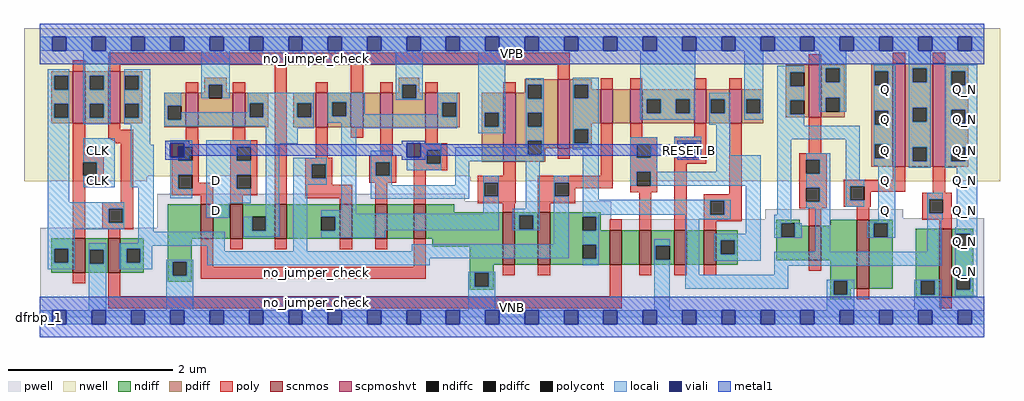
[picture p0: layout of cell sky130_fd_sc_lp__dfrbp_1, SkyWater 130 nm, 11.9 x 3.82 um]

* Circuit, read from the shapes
.subckt sky130_fd_sc_lp__dfrbp_1 CLK D RESET_B VGND VNB VPB VPWR Q Q_N
XM1 VGND CLK n1 VNB sky130_fd_pr__nfet_01v8 w=0.42 l=0.15
XM2 n2 n1 VGND VNB sky130_fd_pr__nfet_01v8 w=0.42 l=0.15
XM3 n3 RESET_B VGND VNB sky130_fd_pr__nfet_01v8 w=0.42 l=0.15
XM4 n4 D n3 VNB sky130_fd_pr__nfet_01v8 w=0.42 l=0.15
XM5 n5 n1 n4 VNB sky130_fd_pr__nfet_01v8 w=0.42 l=0.15
XM6 n6 n2 n5 VNB sky130_fd_pr__nfet_01v8 w=0.42 l=0.15
XM7 n7 n8 n6 VNB sky130_fd_pr__nfet_01v8 w=0.42 l=0.15
XM8 VGND RESET_B n7 VNB sky130_fd_pr__nfet_01v8 w=0.42 l=0.15
XM9 n8 n5 VGND VNB sky130_fd_pr__nfet_01v8 w=0.64 l=0.15
XM10 n9 n2 n8 VNB sky130_fd_pr__nfet_01v8 w=0.64 l=0.15
XM11 n10 n1 n9 VNB sky130_fd_pr__nfet_01v8 w=0.42 l=0.15
XM12 VGND n11 n10 VNB sky130_fd_pr__nfet_01v8 w=0.42 l=0.15
XM13 n12 RESET_B VGND VNB sky130_fd_pr__nfet_01v8 w=0.42 l=0.15
XM14 n11 n9 n12 VNB sky130_fd_pr__nfet_01v8 w=0.42 l=0.15
XM15 VGND n9 n13 VNB sky130_fd_pr__nfet_01v8 w=0.42 l=0.15
XM16 Q n13 VGND VNB sky130_fd_pr__nfet_01v8 w=0.84 l=0.15
XM17 Q_N n9 VGND VNB sky130_fd_pr__nfet_01v8 w=0.84 l=0.15
XM18 VPWR CLK n1 VPB sky130_fd_pr__pfet_01v8_hvt w=0.64 l=0.15
XM19 n2 n1 VPWR VPB sky130_fd_pr__pfet_01v8_hvt w=0.64 l=0.15
XM20 VPWR RESET_B n4 VPB sky130_fd_pr__pfet_01v8_hvt w=0.42 l=0.15
XM21 n4 D VPWR VPB sky130_fd_pr__pfet_01v8_hvt w=0.42 l=0.15
XM22 n5 n2 n4 VPB sky130_fd_pr__pfet_01v8_hvt w=0.42 l=0.15
XM23 n14 n1 n5 VPB sky130_fd_pr__pfet_01v8_hvt w=0.42 l=0.15
XM24 VPWR n8 n14 VPB sky130_fd_pr__pfet_01v8_hvt w=0.42 l=0.15
XM25 n5 RESET_B VPWR VPB sky130_fd_pr__pfet_01v8_hvt w=0.42 l=0.15
XM26 n8 n5 VPWR VPB sky130_fd_pr__pfet_01v8_hvt w=0.84 l=0.15
XM27 n9 n1 n8 VPB sky130_fd_pr__pfet_01v8_hvt w=0.84 l=0.15
XM28 n15 n2 n9 VPB sky130_fd_pr__pfet_01v8_hvt w=0.42 l=0.15
XM29 VPWR n11 n15 VPB sky130_fd_pr__pfet_01v8_hvt w=0.42 l=0.15
XM30 n11 RESET_B VPWR VPB sky130_fd_pr__pfet_01v8_hvt w=0.42 l=0.15
XM31 VPWR n9 n11 VPB sky130_fd_pr__pfet_01v8_hvt w=0.42 l=0.15
XM32 VPWR n9 n13 VPB sky130_fd_pr__pfet_01v8_hvt w=0.64 l=0.15
XM33 VPWR n13 Q VPB sky130_fd_pr__pfet_01v8_hvt w=1.26 l=0.15
XM34 Q_N n9 VPWR VPB sky130_fd_pr__pfet_01v8_hvt w=1.26 l=0.15
.ends

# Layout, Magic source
magic
tech sky130A
magscale 1 2
<< nwell >>
rect -38 343 2342 704
rect -38 331 263 343
rect 1050 331 2342 343
<< pwell >>
rect 287 282 1037 301
rect 287 238 1394 282
rect 1770 241 2106 263
rect 1770 238 2303 241
rect 287 218 2303 238
rect 2 49 2303 218
rect 0 0 2304 49
<< scnmos >>
rect 81 108 111 192
rect 167 108 197 192
rect 393 191 423 275
rect 465 191 495 275
rect 573 191 603 275
rect 732 191 762 275
rect 818 191 848 275
rect 912 191 942 275
rect 1129 128 1159 256
rect 1215 128 1245 256
rect 1390 128 1420 212
rect 1462 128 1492 212
rect 1548 128 1578 212
rect 1620 128 1650 212
rect 1876 139 1906 223
rect 1993 69 2023 237
rect 2194 47 2224 215
<< scpmoshvt >>
rect 81 472 111 600
rect 167 472 197 600
rect 357 463 387 547
rect 471 463 501 547
rect 673 463 703 547
rect 759 463 789 547
rect 831 463 861 547
rect 941 463 971 547
rect 1131 379 1161 547
rect 1263 412 1293 580
rect 1368 472 1398 556
rect 1440 472 1470 556
rect 1596 472 1626 556
rect 1682 472 1712 556
rect 1876 487 1906 615
rect 2081 367 2111 619
rect 2178 367 2208 619
<< ndiff >>
rect 28 167 81 192
rect 28 133 36 167
rect 70 133 81 167
rect 28 108 81 133
rect 111 164 167 192
rect 111 130 122 164
rect 156 130 167 164
rect 111 108 167 130
rect 197 167 254 192
rect 197 133 212 167
rect 246 133 254 167
rect 197 108 254 133
rect 313 191 393 275
rect 423 191 465 275
rect 495 244 573 275
rect 495 210 518 244
rect 552 210 573 244
rect 495 191 573 210
rect 603 244 732 275
rect 603 210 687 244
rect 721 210 732 244
rect 603 191 732 210
rect 762 191 818 275
rect 848 191 912 275
rect 942 256 1011 275
rect 942 191 1129 256
rect 313 135 371 191
rect 313 101 325 135
rect 359 101 371 135
rect 313 86 371 101
rect 957 172 1129 191
rect 1049 128 1129 172
rect 1159 248 1215 256
rect 1159 214 1170 248
rect 1204 214 1215 248
rect 1159 128 1215 214
rect 1245 244 1368 256
rect 1245 210 1324 244
rect 1358 212 1368 244
rect 1796 229 1854 237
rect 1358 210 1390 212
rect 1245 176 1390 210
rect 1245 142 1324 176
rect 1358 142 1390 176
rect 1245 128 1390 142
rect 1420 128 1462 212
rect 1492 174 1548 212
rect 1492 140 1503 174
rect 1537 140 1548 174
rect 1492 128 1548 140
rect 1578 128 1620 212
rect 1650 187 1703 212
rect 1650 153 1661 187
rect 1695 153 1703 187
rect 1650 128 1703 153
rect 1796 195 1808 229
rect 1842 223 1854 229
rect 1928 223 1993 237
rect 1842 195 1876 223
rect 1796 139 1876 195
rect 1906 139 1993 223
rect 1049 108 1107 128
rect 1049 74 1061 108
rect 1095 74 1107 108
rect 1049 66 1107 74
rect 1928 89 1993 139
rect 1928 55 1936 89
rect 1970 69 1993 89
rect 2023 229 2080 237
rect 2023 195 2034 229
rect 2068 195 2080 229
rect 2023 69 2080 195
rect 2137 89 2194 215
rect 1970 55 1978 69
rect 1928 43 1978 55
rect 2137 55 2149 89
rect 2183 55 2194 89
rect 2137 47 2194 55
rect 2224 203 2277 215
rect 2224 169 2235 203
rect 2269 169 2277 203
rect 2224 101 2277 169
rect 2224 67 2235 101
rect 2269 67 2277 101
rect 2224 47 2277 67
<< pdiff >>
rect 28 588 81 600
rect 28 554 36 588
rect 70 554 81 588
rect 28 520 81 554
rect 28 486 36 520
rect 70 486 81 520
rect 28 472 81 486
rect 111 588 167 600
rect 111 554 122 588
rect 156 554 167 588
rect 111 520 167 554
rect 111 486 122 520
rect 156 486 167 520
rect 111 472 167 486
rect 197 588 250 600
rect 197 554 208 588
rect 242 554 250 588
rect 197 520 250 554
rect 402 567 456 583
rect 402 547 412 567
rect 197 486 208 520
rect 242 486 250 520
rect 197 472 250 486
rect 304 515 357 547
rect 304 481 312 515
rect 346 481 357 515
rect 304 463 357 481
rect 387 533 412 547
rect 446 547 456 567
rect 446 533 471 547
rect 387 463 471 533
rect 501 521 558 547
rect 501 487 512 521
rect 546 487 558 521
rect 501 463 558 487
rect 876 567 926 583
rect 1819 597 1876 615
rect 876 547 884 567
rect 618 521 673 547
rect 618 487 628 521
rect 662 487 673 521
rect 618 463 673 487
rect 703 524 759 547
rect 703 490 714 524
rect 748 490 759 524
rect 703 463 759 490
rect 789 463 831 547
rect 861 533 884 547
rect 918 547 926 567
rect 1183 566 1263 580
rect 1183 547 1191 566
rect 918 533 941 547
rect 861 463 941 533
rect 971 523 1024 547
rect 971 489 982 523
rect 1016 489 1024 523
rect 971 463 1024 489
rect 1078 498 1131 547
rect 1078 464 1086 498
rect 1120 464 1131 498
rect 1078 379 1131 464
rect 1161 532 1191 547
rect 1225 532 1263 566
rect 1161 498 1263 532
rect 1161 464 1191 498
rect 1225 464 1263 498
rect 1161 430 1263 464
rect 1161 396 1191 430
rect 1225 412 1263 430
rect 1293 567 1346 580
rect 1293 533 1304 567
rect 1338 556 1346 567
rect 1819 563 1831 597
rect 1865 563 1876 597
rect 1338 533 1368 556
rect 1293 472 1368 533
rect 1398 472 1440 556
rect 1470 531 1596 556
rect 1470 497 1481 531
rect 1515 497 1551 531
rect 1585 497 1596 531
rect 1470 472 1596 497
rect 1626 531 1682 556
rect 1626 497 1637 531
rect 1671 497 1682 531
rect 1626 472 1682 497
rect 1712 531 1765 556
rect 1712 497 1723 531
rect 1757 497 1765 531
rect 1712 472 1765 497
rect 1819 529 1876 563
rect 1819 495 1831 529
rect 1865 495 1876 529
rect 1819 487 1876 495
rect 1906 607 1963 615
rect 1906 573 1917 607
rect 1951 573 1963 607
rect 1906 535 1963 573
rect 1906 501 1917 535
rect 1951 501 1963 535
rect 1906 487 1963 501
rect 2028 599 2081 619
rect 2028 565 2036 599
rect 2070 565 2081 599
rect 2028 503 2081 565
rect 1293 458 1346 472
rect 1293 424 1304 458
rect 1338 424 1346 458
rect 1293 412 1346 424
rect 1225 396 1233 412
rect 1161 379 1233 396
rect 2028 469 2036 503
rect 2070 469 2081 503
rect 2028 421 2081 469
rect 2028 387 2036 421
rect 2070 387 2081 421
rect 2028 367 2081 387
rect 2111 607 2178 619
rect 2111 573 2129 607
rect 2163 573 2178 607
rect 2111 510 2178 573
rect 2111 476 2129 510
rect 2163 476 2178 510
rect 2111 414 2178 476
rect 2111 380 2129 414
rect 2163 380 2178 414
rect 2111 367 2178 380
rect 2208 599 2265 619
rect 2208 565 2223 599
rect 2257 565 2265 599
rect 2208 506 2265 565
rect 2208 472 2223 506
rect 2257 472 2265 506
rect 2208 414 2265 472
rect 2208 380 2223 414
rect 2257 380 2265 414
rect 2208 367 2265 380
<< ndiffc >>
rect 36 133 70 167
rect 122 130 156 164
rect 212 133 246 167
rect 518 210 552 244
rect 687 210 721 244
rect 325 101 359 135
rect 1170 214 1204 248
rect 1324 210 1358 244
rect 1324 142 1358 176
rect 1503 140 1537 174
rect 1661 153 1695 187
rect 1808 195 1842 229
rect 1061 74 1095 108
rect 1936 55 1970 89
rect 2034 195 2068 229
rect 2149 55 2183 89
rect 2235 169 2269 203
rect 2235 67 2269 101
<< pdiffc >>
rect 36 554 70 588
rect 36 486 70 520
rect 122 554 156 588
rect 122 486 156 520
rect 208 554 242 588
rect 208 486 242 520
rect 312 481 346 515
rect 412 533 446 567
rect 512 487 546 521
rect 628 487 662 521
rect 714 490 748 524
rect 884 533 918 567
rect 982 489 1016 523
rect 1086 464 1120 498
rect 1191 532 1225 566
rect 1191 464 1225 498
rect 1191 396 1225 430
rect 1304 533 1338 567
rect 1831 563 1865 597
rect 1481 497 1515 531
rect 1551 497 1585 531
rect 1637 497 1671 531
rect 1723 497 1757 531
rect 1831 495 1865 529
rect 1917 573 1951 607
rect 1917 501 1951 535
rect 2036 565 2070 599
rect 1304 424 1338 458
rect 2036 469 2070 503
rect 2036 387 2070 421
rect 2129 573 2163 607
rect 2129 476 2163 510
rect 2129 380 2163 414
rect 2223 565 2257 599
rect 2223 472 2257 506
rect 2223 380 2257 414
<< poly >>
rect 81 600 111 626
rect 167 615 1293 645
rect 1876 615 1906 641
rect 2081 619 2111 645
rect 2178 619 2208 645
rect 167 600 197 615
rect 357 547 387 573
rect 81 394 111 472
rect 167 457 197 472
rect 471 547 501 573
rect 167 436 228 457
rect 174 432 228 436
rect 178 430 228 432
rect 357 431 387 463
rect 471 431 501 463
rect 182 427 228 430
rect 186 424 228 427
rect 81 378 156 394
rect 81 344 106 378
rect 140 344 156 378
rect 81 328 156 344
rect 81 192 111 328
rect 198 280 228 424
rect 322 415 388 431
rect 322 381 338 415
rect 372 381 388 415
rect 322 347 388 381
rect 322 313 338 347
rect 372 327 388 347
rect 465 415 531 431
rect 465 381 481 415
rect 515 381 531 415
rect 465 347 531 381
rect 372 313 423 327
rect 322 297 423 313
rect 153 264 228 280
rect 393 275 423 297
rect 465 313 481 347
rect 515 313 531 347
rect 465 297 531 313
rect 465 275 495 297
rect 573 275 603 615
rect 673 547 703 573
rect 759 547 789 615
rect 831 547 861 573
rect 1263 580 1293 615
rect 941 547 971 573
rect 1131 547 1161 573
rect 673 389 703 463
rect 759 437 789 463
rect 831 394 861 463
rect 941 424 971 463
rect 912 408 994 424
rect 648 373 714 389
rect 648 339 664 373
rect 698 339 714 373
rect 648 323 714 339
rect 804 378 870 394
rect 804 344 820 378
rect 854 344 870 378
rect 804 328 870 344
rect 912 374 944 408
rect 978 374 994 408
rect 1368 556 1398 582
rect 1440 556 1470 582
rect 1596 556 1626 582
rect 1682 556 1712 582
rect 1263 386 1293 412
rect 912 358 994 374
rect 648 290 762 323
rect 732 275 762 290
rect 818 275 848 328
rect 912 275 942 358
rect 1131 344 1161 379
rect 1368 344 1398 472
rect 1068 328 1161 344
rect 1068 294 1084 328
rect 1118 294 1161 328
rect 1068 278 1161 294
rect 1215 328 1398 344
rect 1215 294 1256 328
rect 1290 314 1398 328
rect 1440 438 1470 472
rect 1596 440 1626 472
rect 1440 422 1506 438
rect 1440 388 1456 422
rect 1490 388 1506 422
rect 1440 354 1506 388
rect 1440 320 1456 354
rect 1490 320 1506 354
rect 1290 294 1306 314
rect 1440 304 1506 320
rect 1548 424 1626 440
rect 1548 390 1564 424
rect 1598 390 1626 424
rect 1548 374 1626 390
rect 1215 278 1306 294
rect 153 230 169 264
rect 203 230 228 264
rect 153 214 228 230
rect 167 192 197 214
rect 1129 256 1159 278
rect 1215 256 1245 278
rect 81 82 111 108
rect 167 51 197 108
rect 393 123 423 191
rect 465 165 495 191
rect 573 165 603 191
rect 732 165 762 191
rect 818 165 848 191
rect 912 123 942 191
rect 393 93 942 123
rect 1390 212 1420 238
rect 1462 212 1492 304
rect 1548 212 1578 374
rect 1682 300 1712 472
rect 1876 399 1906 487
rect 1620 284 1712 300
rect 1620 250 1636 284
rect 1670 250 1712 284
rect 1853 383 1919 399
rect 1853 349 1869 383
rect 1903 349 1919 383
rect 1853 315 1919 349
rect 2081 335 2111 367
rect 1853 281 1869 315
rect 1903 281 1919 315
rect 1853 265 1919 281
rect 1961 319 2111 335
rect 1961 285 1977 319
rect 2011 305 2111 319
rect 2011 285 2027 305
rect 2178 303 2208 367
rect 1961 269 2027 285
rect 2153 287 2224 303
rect 1620 234 1712 250
rect 1620 212 1650 234
rect 1876 223 1906 265
rect 1993 237 2023 269
rect 2153 253 2169 287
rect 2203 253 2224 287
rect 2153 237 2224 253
rect 1129 102 1159 128
rect 1215 102 1245 128
rect 1390 51 1420 128
rect 1462 102 1492 128
rect 1548 102 1578 128
rect 1620 102 1650 128
rect 1876 113 1906 139
rect 167 21 1420 51
rect 2194 215 2224 237
rect 1993 43 2023 69
rect 2194 21 2224 47
<< polycont >>
rect 106 344 140 378
rect 338 381 372 415
rect 338 313 372 347
rect 481 381 515 415
rect 481 313 515 347
rect 664 339 698 373
rect 820 344 854 378
rect 944 374 978 408
rect 1084 294 1118 328
rect 1256 294 1290 328
rect 1456 388 1490 422
rect 1456 320 1490 354
rect 1564 390 1598 424
rect 169 230 203 264
rect 1636 250 1670 284
rect 1869 349 1903 383
rect 1869 281 1903 315
rect 1977 285 2011 319
rect 2169 253 2203 287
<< locali >>
rect 0 649 31 683
rect 65 649 127 683
rect 161 649 223 683
rect 257 649 319 683
rect 353 649 415 683
rect 449 649 511 683
rect 545 649 607 683
rect 641 649 703 683
rect 737 649 799 683
rect 833 649 895 683
rect 929 649 991 683
rect 1025 649 1087 683
rect 1121 649 1183 683
rect 1217 649 1279 683
rect 1313 649 1375 683
rect 1409 649 1471 683
rect 1505 649 1567 683
rect 1601 649 1663 683
rect 1697 649 1759 683
rect 1793 649 1855 683
rect 1889 649 1951 683
rect 1985 649 2047 683
rect 2081 649 2143 683
rect 2177 649 2239 683
rect 2273 649 2304 683
rect 20 588 72 604
rect 20 554 36 588
rect 70 554 72 588
rect 20 520 72 554
rect 20 486 36 520
rect 70 486 72 520
rect 20 280 72 486
rect 106 588 172 649
rect 106 554 122 588
rect 156 554 172 588
rect 106 520 172 554
rect 106 486 122 520
rect 156 486 172 520
rect 106 470 172 486
rect 206 588 270 604
rect 206 554 208 588
rect 242 554 270 588
rect 206 520 270 554
rect 394 567 464 649
rect 206 486 208 520
rect 242 486 270 520
rect 206 470 270 486
rect 106 378 183 436
rect 140 344 183 378
rect 106 316 183 344
rect 222 420 270 470
rect 304 515 346 547
rect 394 533 412 567
rect 446 533 464 567
rect 868 567 934 649
rect 304 481 312 515
rect 508 521 669 547
rect 508 499 512 521
rect 346 487 512 499
rect 546 487 628 521
rect 662 487 669 521
rect 346 481 669 487
rect 304 465 669 481
rect 703 524 793 547
rect 868 533 884 567
rect 918 533 934 567
rect 868 530 934 533
rect 703 490 714 524
rect 748 494 793 524
rect 970 523 1019 547
rect 970 494 982 523
rect 748 490 982 494
rect 703 489 982 490
rect 1016 489 1019 523
rect 703 474 1019 489
rect 551 460 669 465
rect 736 460 1019 474
rect 1070 498 1136 649
rect 1070 464 1086 498
rect 1120 464 1136 498
rect 319 424 372 431
rect 222 316 279 420
rect 20 264 207 280
rect 20 230 169 264
rect 203 230 207 264
rect 20 214 207 230
rect 20 167 86 214
rect 241 208 279 316
rect 353 415 372 424
rect 319 381 338 390
rect 319 347 372 381
rect 319 313 338 347
rect 319 290 372 313
rect 406 415 515 431
rect 406 381 481 415
rect 406 347 515 381
rect 406 313 481 347
rect 406 278 515 313
rect 551 423 630 460
rect 406 242 463 278
rect 551 244 585 423
rect 497 210 518 244
rect 552 210 585 244
rect 241 180 451 208
rect 497 196 585 210
rect 619 373 700 389
rect 619 339 664 373
rect 698 339 700 373
rect 619 323 700 339
rect 20 133 36 167
rect 70 133 86 167
rect 20 117 86 133
rect 120 164 162 180
rect 120 130 122 164
rect 156 130 162 164
rect 120 17 162 130
rect 196 174 451 180
rect 196 167 275 174
rect 196 133 212 167
rect 246 133 275 167
rect 409 160 451 174
rect 619 160 653 323
rect 736 260 772 460
rect 1070 448 1136 464
rect 1186 566 1229 582
rect 1186 532 1191 566
rect 1225 532 1229 566
rect 1186 498 1229 532
rect 1186 464 1191 498
rect 1225 464 1229 498
rect 1186 430 1229 464
rect 808 378 859 406
rect 808 344 820 378
rect 854 344 859 378
rect 929 408 980 424
rect 1186 414 1191 430
rect 929 390 944 408
rect 895 374 944 390
rect 978 374 980 408
rect 895 358 980 374
rect 1014 396 1191 414
rect 1225 396 1229 430
rect 1300 567 1364 583
rect 1300 533 1304 567
rect 1338 533 1364 567
rect 1300 458 1364 533
rect 1465 531 1599 649
rect 1465 497 1481 531
rect 1515 497 1551 531
rect 1585 497 1599 531
rect 1465 481 1599 497
rect 1633 531 1684 547
rect 1633 497 1637 531
rect 1671 497 1684 531
rect 1633 469 1684 497
rect 1718 531 1765 649
rect 1718 497 1723 531
rect 1757 497 1765 531
rect 1718 481 1765 497
rect 1799 597 1865 613
rect 1799 563 1831 597
rect 1799 529 1865 563
rect 1799 495 1831 529
rect 1901 607 1967 649
rect 1901 573 1917 607
rect 1951 573 1967 607
rect 1901 535 1967 573
rect 1901 501 1917 535
rect 1951 501 1967 535
rect 2034 599 2086 615
rect 2034 565 2036 599
rect 2070 565 2086 599
rect 2034 503 2086 565
rect 1300 424 1304 458
rect 1338 424 1364 458
rect 1300 408 1364 424
rect 1014 380 1229 396
rect 808 322 859 344
rect 1014 322 1048 380
rect 808 288 1048 322
rect 1082 328 1120 344
rect 1082 294 1084 328
rect 1118 294 1120 328
rect 687 252 772 260
rect 1082 252 1120 294
rect 1186 264 1220 380
rect 687 244 1120 252
rect 721 212 1120 244
rect 1154 248 1220 264
rect 1154 214 1170 248
rect 1204 214 1220 248
rect 1154 212 1220 214
rect 1254 328 1290 344
rect 1254 294 1256 328
rect 721 210 843 212
rect 687 194 843 210
rect 1254 178 1290 294
rect 908 160 1290 178
rect 409 144 1290 160
rect 1324 286 1364 408
rect 1440 422 1506 438
rect 1440 388 1456 422
rect 1490 388 1506 422
rect 1548 424 1614 440
rect 1548 390 1564 424
rect 1601 390 1614 424
rect 1548 388 1614 390
rect 1650 394 1684 469
rect 1799 467 1865 495
rect 2034 469 2036 503
rect 2070 469 2086 503
rect 1799 433 2000 467
rect 1440 354 1506 388
rect 1650 354 1758 394
rect 1440 320 1456 354
rect 1490 320 1758 354
rect 1324 284 1686 286
rect 1324 250 1636 284
rect 1670 250 1686 284
rect 1324 244 1364 250
rect 1358 210 1364 244
rect 1324 176 1364 210
rect 1575 238 1686 250
rect 196 117 275 133
rect 309 135 375 140
rect 309 101 325 135
rect 359 101 375 135
rect 409 126 951 144
rect 1358 142 1364 176
rect 1324 126 1364 142
rect 1499 174 1537 190
rect 1499 140 1503 174
rect 309 17 375 101
rect 1045 108 1111 110
rect 1045 74 1061 108
rect 1095 74 1111 108
rect 1045 17 1111 74
rect 1499 17 1537 140
rect 1575 103 1609 238
rect 1722 203 1758 320
rect 1799 250 1833 433
rect 1869 383 1928 399
rect 1903 349 1928 383
rect 1869 315 1928 349
rect 1903 281 1928 315
rect 1869 265 1928 281
rect 1966 335 2000 433
rect 2034 421 2086 469
rect 2034 387 2036 421
rect 2070 387 2086 421
rect 2034 369 2086 387
rect 1966 319 2011 335
rect 1966 285 1977 319
rect 1966 269 2011 285
rect 1645 187 1758 203
rect 1792 229 1833 250
rect 1792 195 1808 229
rect 1842 195 1858 229
rect 1792 193 1858 195
rect 1645 153 1661 187
rect 1695 153 1758 187
rect 1892 159 1928 265
rect 2045 233 2086 369
rect 2120 607 2173 649
rect 2120 573 2129 607
rect 2163 573 2173 607
rect 2120 510 2173 573
rect 2120 476 2129 510
rect 2163 476 2173 510
rect 2120 414 2173 476
rect 2120 380 2129 414
rect 2163 380 2173 414
rect 2120 364 2173 380
rect 2207 599 2287 615
rect 2207 565 2223 599
rect 2257 565 2287 599
rect 2207 506 2287 565
rect 2207 472 2223 506
rect 2257 472 2287 506
rect 2207 414 2287 472
rect 2207 380 2223 414
rect 2257 380 2287 414
rect 2207 364 2287 380
rect 2018 229 2086 233
rect 2018 195 2034 229
rect 2068 195 2086 229
rect 2018 193 2086 195
rect 2165 287 2203 303
rect 2165 253 2169 287
rect 2165 237 2203 253
rect 2165 159 2199 237
rect 2237 219 2287 364
rect 1645 137 1758 153
rect 1792 125 2199 159
rect 2233 203 2287 219
rect 2233 169 2235 203
rect 2269 169 2287 203
rect 1792 103 1826 125
rect 1575 69 1826 103
rect 2233 101 2287 169
rect 1920 89 1986 91
rect 1920 55 1936 89
rect 1970 55 1986 89
rect 1920 17 1986 55
rect 2133 89 2199 91
rect 2133 55 2149 89
rect 2183 55 2199 89
rect 2133 17 2199 55
rect 2233 67 2235 101
rect 2269 67 2287 101
rect 2233 51 2287 67
rect 0 -17 31 17
rect 65 -17 127 17
rect 161 -17 223 17
rect 257 -17 319 17
rect 353 -17 415 17
rect 449 -17 511 17
rect 545 -17 607 17
rect 641 -17 703 17
rect 737 -17 799 17
rect 833 -17 895 17
rect 929 -17 991 17
rect 1025 -17 1087 17
rect 1121 -17 1183 17
rect 1217 -17 1279 17
rect 1313 -17 1375 17
rect 1409 -17 1471 17
rect 1505 -17 1567 17
rect 1601 -17 1663 17
rect 1697 -17 1759 17
rect 1793 -17 1855 17
rect 1889 -17 1951 17
rect 1985 -17 2047 17
rect 2081 -17 2143 17
rect 2177 -17 2239 17
rect 2273 -17 2304 17
<< viali >>
rect 31 649 65 683
rect 127 649 161 683
rect 223 649 257 683
rect 319 649 353 683
rect 415 649 449 683
rect 511 649 545 683
rect 607 649 641 683
rect 703 649 737 683
rect 799 649 833 683
rect 895 649 929 683
rect 991 649 1025 683
rect 1087 649 1121 683
rect 1183 649 1217 683
rect 1279 649 1313 683
rect 1375 649 1409 683
rect 1471 649 1505 683
rect 1567 649 1601 683
rect 1663 649 1697 683
rect 1759 649 1793 683
rect 1855 649 1889 683
rect 1951 649 1985 683
rect 2047 649 2081 683
rect 2143 649 2177 683
rect 2239 649 2273 683
rect 319 415 353 424
rect 319 390 338 415
rect 338 390 353 415
rect 895 390 929 424
rect 1567 390 1598 424
rect 1598 390 1601 424
rect 31 -17 65 17
rect 127 -17 161 17
rect 223 -17 257 17
rect 319 -17 353 17
rect 415 -17 449 17
rect 511 -17 545 17
rect 607 -17 641 17
rect 703 -17 737 17
rect 799 -17 833 17
rect 895 -17 929 17
rect 991 -17 1025 17
rect 1087 -17 1121 17
rect 1183 -17 1217 17
rect 1279 -17 1313 17
rect 1375 -17 1409 17
rect 1471 -17 1505 17
rect 1567 -17 1601 17
rect 1663 -17 1697 17
rect 1759 -17 1793 17
rect 1855 -17 1889 17
rect 1951 -17 1985 17
rect 2047 -17 2081 17
rect 2143 -17 2177 17
rect 2239 -17 2273 17
<< metal1 >>
rect 0 683 2304 715
rect 0 649 31 683
rect 65 649 127 683
rect 161 649 223 683
rect 257 649 319 683
rect 353 649 415 683
rect 449 649 511 683
rect 545 649 607 683
rect 641 649 703 683
rect 737 649 799 683
rect 833 649 895 683
rect 929 649 991 683
rect 1025 649 1087 683
rect 1121 649 1183 683
rect 1217 649 1279 683
rect 1313 649 1375 683
rect 1409 649 1471 683
rect 1505 649 1567 683
rect 1601 649 1663 683
rect 1697 649 1759 683
rect 1793 649 1855 683
rect 1889 649 1951 683
rect 1985 649 2047 683
rect 2081 649 2143 683
rect 2177 649 2239 683
rect 2273 649 2304 683
rect 0 617 2304 649
rect 307 424 365 430
rect 307 390 319 424
rect 353 421 365 424
rect 883 424 941 430
rect 883 421 895 424
rect 353 393 895 421
rect 353 390 365 393
rect 307 384 365 390
rect 883 390 895 393
rect 929 421 941 424
rect 1555 424 1613 430
rect 1555 421 1567 424
rect 929 393 1567 421
rect 929 390 941 393
rect 883 384 941 390
rect 1555 390 1567 393
rect 1601 390 1613 424
rect 1555 384 1613 390
rect 0 17 2304 49
rect 0 -17 31 17
rect 65 -17 127 17
rect 161 -17 223 17
rect 257 -17 319 17
rect 353 -17 415 17
rect 449 -17 511 17
rect 545 -17 607 17
rect 641 -17 703 17
rect 737 -17 799 17
rect 833 -17 895 17
rect 929 -17 991 17
rect 1025 -17 1087 17
rect 1121 -17 1183 17
rect 1217 -17 1279 17
rect 1313 -17 1375 17
rect 1409 -17 1471 17
rect 1505 -17 1567 17
rect 1601 -17 1663 17
rect 1697 -17 1759 17
rect 1793 -17 1855 17
rect 1889 -17 1951 17
rect 1985 -17 2047 17
rect 2081 -17 2143 17
rect 2177 -17 2239 17
rect 2273 -17 2304 17
rect 0 -49 2304 -17
<< labels >>
flabel pwell s 0 0 2304 49 0 FreeSans 200 0 0 0 VNB
port 5 nsew ground bidirectional
flabel nwell s 0 617 2304 666 0 FreeSans 200 0 0 0 VPB
port 6 nsew power bidirectional
rlabel comment s 0 0 0 0 4 dfrbp_1
flabel comment s 676 630 676 630 0 FreeSans 300 0 0 0 no_jumper_check
flabel comment s 676 108 676 108 0 FreeSans 300 0 0 0 no_jumper_check
flabel comment s 676 36 676 36 0 FreeSans 300 0 0 0 no_jumper_check
flabel metal1 s 1567 390 1601 424 0 FreeSans 200 0 0 0 RESET_B
port 3 nsew signal input
flabel metal1 s 0 617 2304 666 0 FreeSans 340 0 0 0 VPWR
port 7 nsew power bidirectional
flabel metal1 s 0 0 2304 49 0 FreeSans 340 0 0 0 VGND
port 4 nsew ground bidirectional
flabel locali s 127 316 161 350 0 FreeSans 340 0 0 0 CLK
port 1 nsew clock input
flabel locali s 127 390 161 424 0 FreeSans 340 0 0 0 CLK
port 1 nsew clock input
flabel locali s 415 242 449 276 0 FreeSans 340 0 0 0 D
port 2 nsew signal input
flabel locali s 415 316 449 350 0 FreeSans 340 0 0 0 D
port 2 nsew signal input
flabel locali s 2047 242 2081 276 0 FreeSans 340 0 0 0 Q
port 8 nsew signal output
flabel locali s 2047 316 2081 350 0 FreeSans 340 0 0 0 Q
port 8 nsew signal output
flabel locali s 2047 390 2081 424 0 FreeSans 340 0 0 0 Q
port 8 nsew signal output
flabel locali s 2047 464 2081 498 0 FreeSans 340 0 0 0 Q
port 8 nsew signal output
flabel locali s 2047 538 2081 572 0 FreeSans 340 0 0 0 Q
port 8 nsew signal output
flabel locali s 2239 94 2273 128 0 FreeSans 340 0 0 0 Q_N
port 9 nsew signal output
flabel locali s 2239 168 2273 202 0 FreeSans 340 0 0 0 Q_N
port 9 nsew signal output
flabel locali s 2239 242 2273 276 0 FreeSans 340 0 0 0 Q_N
port 9 nsew signal output
flabel locali s 2239 316 2273 350 0 FreeSans 340 0 0 0 Q_N
port 9 nsew signal output
flabel locali s 2239 390 2273 424 0 FreeSans 340 0 0 0 Q_N
port 9 nsew signal output
flabel locali s 2239 464 2273 498 0 FreeSans 340 0 0 0 Q_N
port 9 nsew signal output
flabel locali s 2239 538 2273 572 0 FreeSans 340 0 0 0 Q_N
port 9 nsew signal output
<< properties >>
string LEFsite unit
string LEFclass CORE
string FIXED_BBOX 0 0 2304 666
string GDS_FILE $PDKPATH/libs.ref/sky130_fd_sc_lp/gds/sky130_fd_sc_lp.gds
string LEFsymmetry R90
string GDS_END 4505506
string GDS_START 4487018
<< end >>
